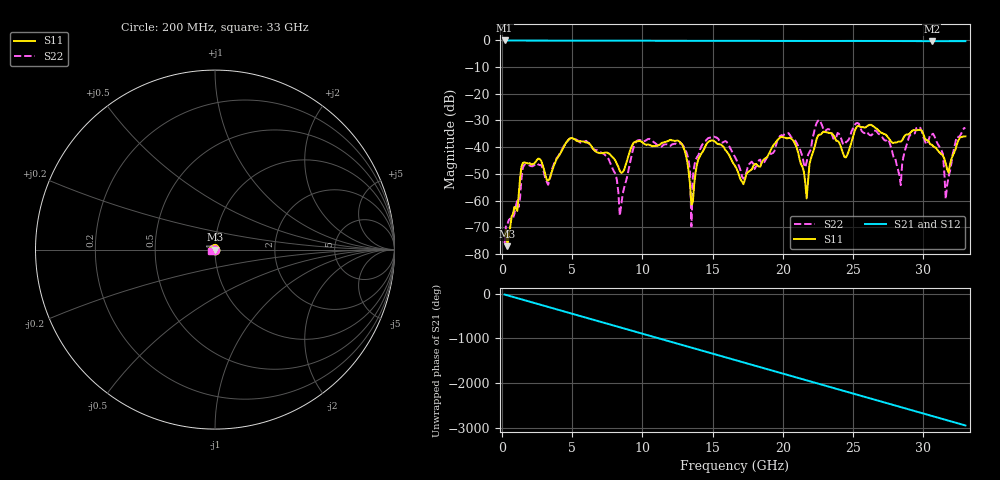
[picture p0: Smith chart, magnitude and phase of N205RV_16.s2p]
# GHZ S RI R 50
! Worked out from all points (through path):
!   329 points, 200 MHz to 33 GHz, reference 50 ohm
!   highest |S21| = -0.02 dB at 200 MHz (marker M1); lowest = -0.3 dB at 30.6 GHz (marker M2)
!   group delay of S21, straight-line fit = 248 ps
!   lowest |S11| = -77.1 dB at 400 MHz (marker M3), VSWR 1.00, Z = 50 + j0.00556 ohm
!   |S11| at or under -10 dB: start of sweep to end of sweep
!   |S22| runs from -75.9 to -29.8 dB; largest |S21 - S12| = 0.0019
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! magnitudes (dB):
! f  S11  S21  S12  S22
! 200 MHz  -73.3  0.0  0.0  -75.9
! 400 MHz  -77.1  0.0  0.0  -68.9
! 1.5 GHz  -45.9  -0.1  -0.1  -47.6
! 5.7 GHz  -37.8  -0.1  -0.1  -38.2
! 8.4 GHz  -48.9  -0.1  -0.1  -65.6
! 9.5 GHz  -38.1  -0.1  -0.1  -38.5
! 11.2 GHz  -39.2  -0.2  -0.2  -39.8
! 13.1 GHz  -43.0  -0.2  -0.2  -41.3
! 13.4 GHz  -54.1  -0.2  -0.2  -49.4
! 13.5 GHz  -61.5  -0.2  -0.2  -69.7
! 13.7 GHz  -53.6  -0.2  -0.2  -47.0
! 14.3 GHz  -41.7  -0.2  -0.2  -38.8
! 16.6 GHz  -47.0  -0.2  -0.2  -43.7
! 20.5 GHz  -36.5  -0.2  -0.2  -35.4
! 21.7 GHz  -59.2  -0.2  -0.2  -45.5
! 22.1 GHz  -42.6  -0.2  -0.2  -37.3
! 27.6 GHz  -37.0  -0.2  -0.2  -38.3
! 28.4 GHz  -37.9  -0.2  -0.2  -54.2
! 29 GHz  -35.0  -0.3  -0.3  -35.9
! 30.6 GHz  -39.0  -0.3  -0.3  -35.3
! 31.6 GHz  -46.1  -0.3  -0.3  -59.4
! 33 GHz  -35.9  -0.3  -0.3  -32.7
